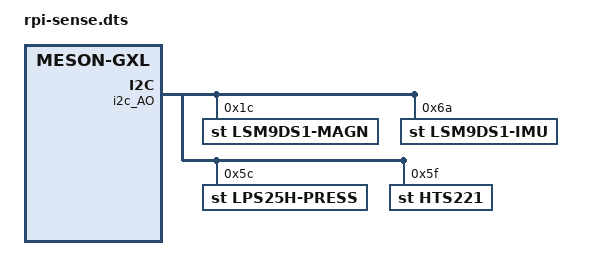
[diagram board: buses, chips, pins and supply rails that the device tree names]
// SPDX-License-Identifier: (GPL-2.0-or-later OR MIT)
/*
 * Copyright (c) 2017 BayLibre, SAS.
 * Author: Neil Armstrong <narmstrong@baylibre.com>
 */
/*
 * Raspberry Pi Sense HAT sensors on I2C_AO.
 *
 * Discrete IIO devices match linux-6.18.y-lc of_device_id tables.
 * The ATMega at 0x46 has no matching I2C driver on mainline 6.18
 * (only platform child raspberrypi,sensehat-joystick exists), so that
 * node is omitted until a mainline MFD is available.
 */

/dts-v1/;
/plugin/;

/ {
	compatible = "libre-computer,aml-s805x-ac",
		"libretech,aml-s805x-ac",
		"libre-computer,aml-s805x-ac-v2",
		"libretech,aml-s805x-ac-v2",
		"amlogic,s805x",
		"amlogic,meson-gxl";

	fragment@0 {
		target = <&i2c_AO>;

		__overlay__ {
			lsm9ds1-magn@1c {
				compatible = "st,lsm9ds1-magn";
				reg = <0x1c>;
				status = "okay";
			};

			lsm9ds1-imu@6a {
				compatible = "st,lsm9ds1-imu";
				reg = <0x6a>;
				status = "okay";
			};

			lps25h-press@5c {
				compatible = "st,lps25h-press";
				reg = <0x5c>;
				status = "okay";
			};

			hts221@5f {
				compatible = "st,hts221";
				reg = <0x5f>;
				status = "okay";
			};
		};
	};
};
